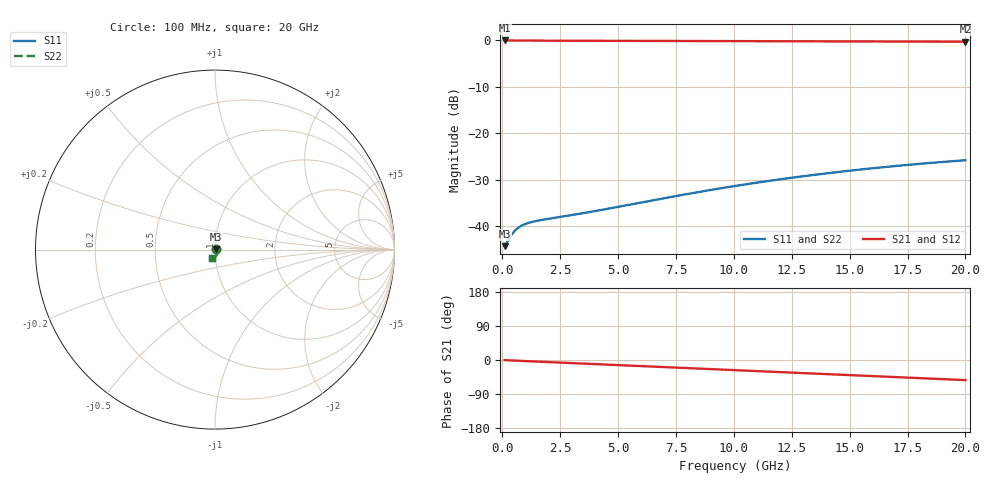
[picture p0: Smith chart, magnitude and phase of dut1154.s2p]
! Touchstone file exported from HFSS 2026.1.0
!  File:  C:/ffzhzh/LocalFiles/Ansys_Project_Files/temp_train_BSMRDL_1154_1783175702_51560.aedt
!  Generated:  10:36:22 PM Jul  4, 2026
!  Design:  BSMRDL
!  Project:  temp_train_BSMRDL_1154_1783175702_51560
! Variables:
!  h_bsmrdl = 2.82um
!  h_ox = 20um
!  h_rdl = 5um
!  h_sub = 80um
!  h_tmrdl = 5um
!  h_tsv = 80um
!  h_via = 3um
!  l_bsmrdl = 948.26um
!  l_sub = 1348.26um
!  l_tmrdl = 200um
!  m_sub = 200um
!  pitch = 23.48um
!  r_tsv = 6um
!  s_tmrdl = 10um
!  w_bsmrdl = 20.58um
!  w_sub = 500um
!  w_tmrdl = 12um
!  x_tsv_center1 = 206um
!  x_tsv_center2 = 1174.84um
!  x_tsv_center3 = 1386.84um
!  x_tsv_center4 = 2355.68um
!  x_tsv_center5 = 2567.68um
!  x_tsv_center6 = 3536.52um
# GHz S MA R 50.000000
! Terminal data exported
! Port[1] = BSM_RDL1_1_T1
! Port[2] = BSM_RDL1_1_T2
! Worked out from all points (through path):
!   200 points, 100 MHz to 20 GHz, reference 50 ohm
!   highest |S21| = -0.05 dB at 100 MHz (marker M1); lowest = -0.3 dB at 20 GHz (marker M2)
!   group delay of S21, straight-line fit = 7.34 ps
!   lowest |S11| = -44.3 dB at 100 MHz (marker M3), VSWR 1.01, Z = 50.6 + j0.0851 ohm
!   |S11| at or under -10 dB: start of sweep to end of sweep
!   |S22| runs from -44.3 to -26.0 dB; largest |S21 - S12| = 4.7e-15
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0.1  0.006124 7.9  0.9939 -0.3  0.9939 -0.3  0.006124 7.9
! Gamma 0 0 0 0
! Port Impedance 50 0 50 0
0.2  0.006697 13.2  0.9935 -0.7  0.9935 -0.7  0.006697 13.2
0.3  0.007415 15.6  0.9929 -1.0  0.9929 -1.0  0.007415 15.6
0.4  0.008124 15.8  0.9922 -1.3  0.9922 -1.3  0.008124 15.8
0.5  0.008753 14.8  0.9916 -1.5  0.9916 -1.5  0.008752 14.8
0.6  0.009281 13.3  0.991 -1.8  0.991 -1.8  0.009281 13.3
0.7  0.009717 11.4  0.9905 -2.1  0.9905 -2.1  0.009716 11.5
0.8  0.01008 9.6  0.9901 -2.4  0.9901 -2.4  0.01007 9.6
0.9  0.01037 7.7  0.9898 -2.6  0.9898 -2.6  0.01037 7.7
1.2  0.01102 2.6  0.989 -3.4  0.989 -3.4  0.01101 2.6
1.5  0.01147 -1.9  0.9885 -4.2  0.9885 -4.2  0.01146 -1.9
3.5  0.01387 -22.8  0.9864 -9.6  0.9864 -9.6  0.01381 -22.9
5.1  0.01637 -35.2  0.9846 -13.9  0.9846 -13.9  0.01625 -35.4
6.8  0.01966 -46.4  0.9824 -18.4  0.9824 -18.4  0.01946 -46.7
8.5  0.02343 -56.2  0.9799 -23.0  0.9799 -23.0  0.02313 -56.7
10.1  0.02727 -64.6  0.9775 -27.2  0.9775 -27.2  0.02688 -65.3
11.7  0.03127 -72.3  0.9751 -31.4  0.9751 -31.4  0.03078 -73.2
13.4  0.03559 -79.9  0.9726 -35.9  0.9726 -35.9  0.03499 -81.0
15  0.03963 -86.7  0.9703 -40.1  0.9703 -40.1  0.03892 -87.9
16.7  0.04382 -93.5  0.9679 -44.5  0.9679 -44.5  0.04299 -94.9
18.3  0.04759 -99.6  0.9658 -48.6  0.9658 -48.6  0.04666 -101.2
20  0.05134 -105.8  0.9636 -53.0  0.9636 -53.0  0.0503 -107.6
